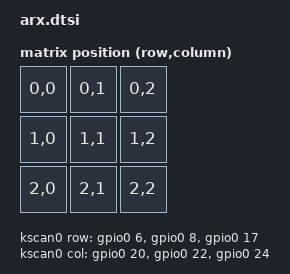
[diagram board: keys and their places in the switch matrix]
#include <dt-bindings/zmk/matrix_transform.h>
#include <physical_layouts.dtsi>

/ {
    kscan0: kscan0 {
        compatible = "zmk,kscan-gpio-matrix";
        diode-direction = "col2row";
        wakeup-source;

        col-gpios
            = <&gpio0 20 GPIO_ACTIVE_HIGH>
            , <&gpio0 22 GPIO_ACTIVE_HIGH>
            , <&gpio0 24 GPIO_ACTIVE_HIGH>
            ;

        row-gpios
            = <&gpio0 6 (GPIO_ACTIVE_HIGH | GPIO_PULL_DOWN)>
            , <&gpio0 8 (GPIO_ACTIVE_HIGH | GPIO_PULL_DOWN)>
            , <&gpio0 17 (GPIO_ACTIVE_HIGH | GPIO_PULL_DOWN)>
            ;
    };

    default_transform: keymap_transform0 {
        compatible = "zmk,matrix-transform";
        columns = <3>;
        rows = <3>;
        map = <
            RC(0,0) RC(0,1) RC(0,2) 
            RC(1,0) RC(1,1) RC(1,2)
            RC(2,0) RC(2,1) RC(2,2)
        >;
    };

    physical_layout0: physical_layout_0 {
        compatible = "zmk,physical-layout";
        display-name = "arx Layout";

        kscan = <&kscan0>;
        transform = <&default_transform>;

        keys =
            <&key_physical_attrs 100 100    0    0 0 0 0>,   
            <&key_physical_attrs 100 100  100    0 0 0 0>,  
            <&key_physical_attrs 100 100  200    0 0 0 0>,   
            <&key_physical_attrs 100 100    0  100 0 0 0>,   
            <&key_physical_attrs 100 100  100  100 0 0 0>,  
            <&key_physical_attrs 100 100  200  100 0 0 0>, 
            <&key_physical_attrs 100 100    0  200 0 0 0>, 
            <&key_physical_attrs 100 100  100  200 0 0 0>, 
            <&key_physical_attrs 100 100  200  200 0 0 0>;
    };
};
